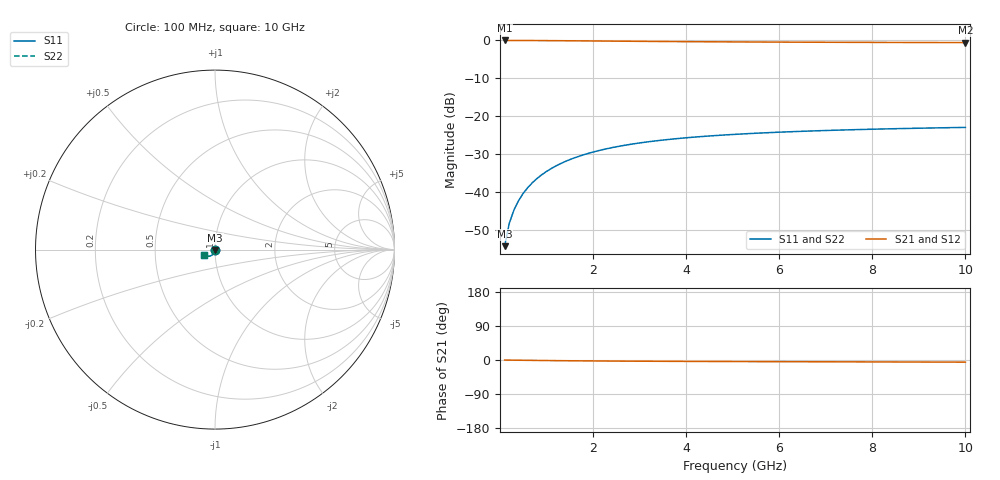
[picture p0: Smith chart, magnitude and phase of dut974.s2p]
! Touchstone file exported from HFSS 2024.1.0
!  File:  C:/UserFiles/LocalFiles/RDL_TSV_Batchsim/temp_TSV1_974_1779951334.aedt
!  Generated:  03:01:37 PM May 28, 2026
!  Design:  TSV1
!  Project:  temp_TSV1_974_1779951334
!  Setup:  Setup1
!  Solution:  Sweep
! Variables:
!  dtsv = 14.01um
!  hbump = 3um
!  htsv = 84.82um
!  lrdl = 252.1521522um
!  p = 40
!  p1 = 44.38um
!  t = 500um
!  trdl = 3um
!  wrdl = 24.89489489um
# GHz S MA R 50.000000
! Terminal data exported
! Port[1] = TSV22_T1
! Port[2] = TSV22_T2
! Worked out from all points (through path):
!   100 points, 100 MHz to 10 GHz, reference 50 ohm
!   highest |S21| = 0.00 dB at 100 MHz (marker M1); lowest = -0.6 dB at 10 GHz (marker M2)
!   lowest |S11| = -54.3 dB at 100 MHz (marker M3), VSWR 1.00, Z = 50 - j0.192 ohm
!   |S11| at or under -10 dB: start of sweep to end of sweep
!   |S22| runs from -54.3 to -23.0 dB; largest |S21 - S12| = 4.7e-15
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0.1  0.001924 -88.9  0.9999 -0.2  0.9999 -0.2  0.001924 -88.9
! Gamma 0 0 0 0
! Port Impedance 50 0 50 0
0.2  0.003847 -91.6  0.9997 -0.3  0.9997 -0.3  0.003847 -91.6
0.3  0.00577 -93.5  0.9994 -0.4  0.9994 -0.4  0.00577 -93.5
0.4  0.007684 -95.2  0.999 -0.6  0.999 -0.6  0.007684 -95.2
0.5  0.009581 -96.9  0.9985 -0.7  0.9985 -0.7  0.009581 -96.9
0.6  0.01146 -98.5  0.998 -0.9  0.998 -0.9  0.01146 -98.5
0.7  0.0133 -100.1  0.9973 -1.0  0.9973 -1.0  0.0133 -100.1
0.8  0.01512 -101.7  0.9966 -1.2  0.9966 -1.2  0.01512 -101.7
0.9  0.0169 -103.2  0.9959 -1.3  0.9959 -1.3  0.0169 -103.2
1.1  0.02034 -106.1  0.9941 -1.5  0.9941 -1.5  0.02034 -106.1
1.4  0.02518 -110.2  0.9911 -1.9  0.9911 -1.9  0.02518 -110.2
1.6  0.02818 -112.8  0.989 -2.1  0.989 -2.1  0.02818 -112.8
1.8  0.031 -115.3  0.9867 -2.3  0.9867 -2.3  0.031 -115.3
2.1  0.03488 -118.7  0.9833 -2.6  0.9833 -2.6  0.03488 -118.7
2.5  0.03946 -122.8  0.9789 -2.9  0.9789 -2.9  0.03946 -122.8
2.9  0.04343 -126.4  0.9746 -3.1  0.9746 -3.1  0.04343 -126.4
3.4  0.04766 -130.3  0.9696 -3.4  0.9696 -3.4  0.04766 -130.3
4.2  0.0531 -135.4  0.9627 -3.8  0.9627 -3.8  0.0531 -135.4
5.1  0.05782 -140.0  0.9564 -4.1  0.9564 -4.1  0.05782 -140.0
6.7  0.06385 -146.1  0.9478 -4.6  0.9478 -4.6  0.06385 -146.1
8.4  0.0682 -150.8  0.9413 -5.2  0.9413 -5.2  0.0682 -150.8
10  0.07113 -154.1  0.9369 -5.6  0.9369 -5.6  0.07113 -154.1
